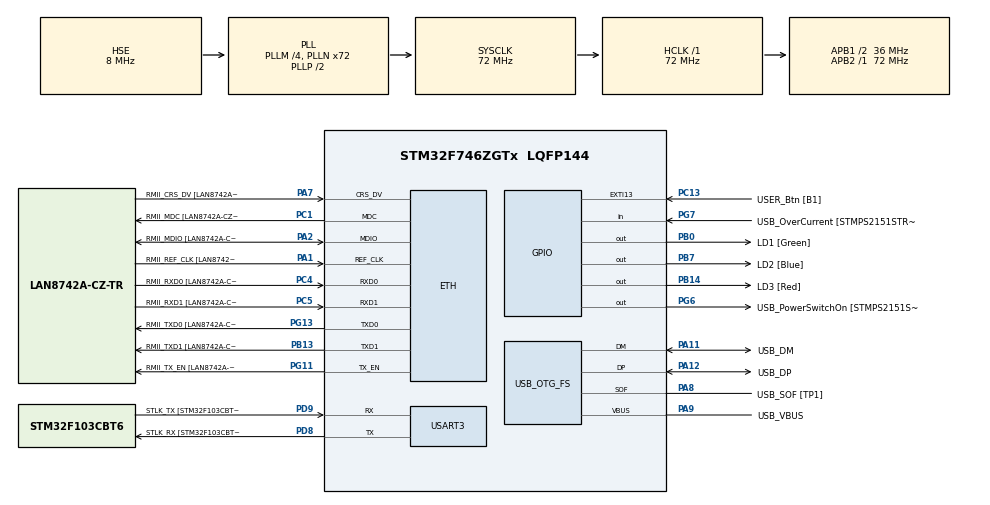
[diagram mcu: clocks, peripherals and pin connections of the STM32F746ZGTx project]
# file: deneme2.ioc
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ETH.MediaInterface=ETH_MEDIA_INTERFACE_RMII
ETH.PHY_Name=LAN8742A_PHY_ADDRESS
ETH.PHY_Value=0
ETH.PhyAddress=0
Mcu.Family=STM32F7
Mcu.Name=STM32F746ZGTx
Mcu.Package=LQFP144
NVIC.PriorityGroup=NVIC_PRIORITYGROUP_4
PA1.GPIO_Label=RMII_REF_CLK [LAN8742A-CZ-TR_REFCLK0]
PA1.Mode=RMII
PA1.Signal=ETH_REF_CLK
PA10.GPIO_Label=USB_ID
PA10.Signal=USB_OTG_FS_ID
PA11.GPIO_Label=USB_DM
PA11.Mode=Device_Only
PA11.Signal=USB_OTG_FS_DM
PA12.GPIO_Label=USB_DP
PA12.Mode=Device_Only
PA12.Signal=USB_OTG_FS_DP
PA13.GPIO_Label=TMS
PA13.Mode=Serial_Wire
PA13.Signal=SYS_JTMS-SWDIO
PA14.GPIO_Label=TCK
PA14.Mode=Serial_Wire
PA14.Signal=SYS_JTCK-SWCLK
PA2.GPIO_Label=RMII_MDIO [LAN8742A-CZ-TR_MDIO]
PA2.Mode=RMII
PA2.Signal=ETH_MDIO
PA7.GPIO_Label=RMII_CRS_DV [LAN8742A-CZ-TR_CRS_DV]
PA7.Mode=RMII
PA7.Signal=ETH_CRS_DV
PA8.GPIO_Label=USB_SOF [TP1]
PA8.Mode=Activate_SOF_FS
PA8.Signal=USB_OTG_FS_SOF
PA9.GPIO_Label=USB_VBUS
PA9.Mode=Activate_VBUS
PA9.Signal=USB_OTG_FS_VBUS
PB0.GPIO_Label=LD1 [Green]
PB0.Signal=GPIO_Output
PB13.GPIO_Label=RMII_TXD1 [LAN8742A-CZ-TR_TXD1]
PB13.Mode=RMII
PB13.Signal=ETH_TXD1
PB14.GPIO_Label=LD3 [Red]
PB14.Signal=GPIO_Output
PB3.GPIO_Label=SW0
PB3.Signal=SYS_JTDO-SWO
PB7.GPIO_Label=LD2 [Blue]
PB7.Signal=GPIO_Output
PC1.GPIO_Label=RMII_MDC [LAN8742A-CZ-TR_MDC]
PC1.Mode=RMII
PC1.Signal=ETH_MDC
PC13.GPIO_Label=USER_Btn [B1]
PC13.Signal=GPXTI13
PC14/OSC32_IN.Mode=LSE-External-Oscillator
PC14/OSC32_IN.Signal=RCC_OSC32_IN
PC15/OSC32_OUT.Mode=LSE-External-Oscillator
PC15/OSC32_OUT.Signal=RCC_OSC32_OUT
PC4.GPIO_Label=RMII_RXD0 [LAN8742A-CZ-TR_RXD0]
PC4.Mode=RMII
PC4.Signal=ETH_RXD0
PC5.GPIO_Label=RMII_RXD1 [LAN8742A-CZ-TR_RXD1]
PC5.Mode=RMII
PC5.Signal=ETH_RXD1
PD8.GPIO_Label=STLK_RX [STM32F103CBT6_PA3]
PD8.Mode=Asynchronous
PD8.Signal=USART3_TX
PD9.GPIO_Label=STLK_TX [STM32F103CBT6_PA2]
PD9.Mode=Asynchronous
PD9.Signal=USART3_RX
PG11.GPIO_Label=RMII_TX_EN [LAN8742A-CZ-TR_TXEN]
PG11.Mode=RMII
PG11.Signal=ETH_TX_EN
PG13.GPIO_Label=RMII_TXD0 [LAN8742A-CZ-TR_TXD0]
PG13.Mode=RMII
PG13.Signal=ETH_TXD0
PG6.GPIO_Label=USB_PowerSwitchOn [STMPS2151STR_EN]
PG6.Signal=GPIO_Output
PG7.GPIO_Label=USB_OverCurrent [STMPS2151STR_FAULT]
PG7.Signal=GPIO_Input
PH0/OSC_IN.GPIO_Label=MCO [STM32F103CBT6_PA8]
PH0/OSC_IN.Mode=HSE-External-Clock-Source
PH0/OSC_IN.Signal=RCC_OSC_IN
PH1/OSC_OUT.Mode=HSE-External-Clock-Source
PH1/OSC_OUT.Signal=RCC_OSC_OUT
ProjectManager.HeapSize=0x200
ProjectManager.StackSize=0x400
ProjectManager.TargetToolchain=STM32CubeIDE
RCC.48MHZClocksFreq_Value=24000000
RCC.AHBFreq_Value=72000000
RCC.APB1CLKDivider=RCC_HCLK_DIV2
RCC.APB1Freq_Value=36000000
RCC.APB1TimFreq_Value=72000000
RCC.APB2Freq_Value=72000000
RCC.APB2TimFreq_Value=72000000
RCC.CortexFreq_Value=72000000
RCC.HCLKFreq_Value=72000000
RCC.HSE_VALUE=8000000
RCC.HSI_VALUE=16000000
RCC.PLLM=4
RCC.PLLMUL=RCC_PLL_MUL9
RCC.PLLN=72
RCC.PLLQ=3
RCC.PRESCALERUSB=RCC_USBCLKSOURCE_PLL_DIV1_5
RCC.SYSCLKFreq_VALUE=72000000
RCC.SYSCLKSource=RCC_SYSCLKSOURCE_PLLCLK
RCC.SYSCLKSourceVirtual=RCC_SYSCLKSOURCE_PLLCLK
RCC.USBFreq_Value=48000000
RCC.VCOOutputFreq_Value=144000000
USART3.VirtualMode-Asynchronous=VM_ASYNC
USB_OTG_FS.VirtualMode=Device_Only
board=NUCLEO-F746ZG

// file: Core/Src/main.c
/* USER CODE BEGIN Header */
/**
  ******************************************************************************
  * @file           : main.c
  * @brief          : Main program body
  ******************************************************************************
  * @attention
  *
  * <h2><center>&copy; Copyright (c) 2022 STMicroelectronics.
  * All rights reserved.</center></h2>
  *
  * This software component is licensed by ST under BSD 3-Clause license,
  * the "License"; You may not use this file except in compliance with the
  * License. You may obtain a copy of the License at:
  *                        opensource.org/licenses/BSD-3-Clause
  *
  ******************************************************************************
  */
/* USER CODE END Header */
#include "main.h"

/* USER CODE BEGIN Includes */
#include "DenemeQueue.h"
#include "stdio.h"
/* USER CODE END Includes */

ETH_HandleTypeDef heth;

UART_HandleTypeDef huart3;

PCD_HandleTypeDef hpcd_USB_OTG_FS;

void SystemClock_Config(void);
static void MX_GPIO_Init(void);
static void MX_ETH_Init(void);
static void MX_USART3_UART_Init(void);
static void MX_USB_OTG_FS_PCD_Init(void);
/* USER CODE BEGIN PFP */
typedef int(* oper_t)(int,int);
int add(int a , int b);
int sub(int a , int b);
int mul(int a , int b);
/* USER CODE END PFP */

int main(void)
{
  /* USER CODE BEGIN 1 */
	oper_t oper[] = {add,sub,mul};
	int cmd,a,b,res;
  /* USER CODE END 1 */

  /* MCU Configuration--------------------------------------------------------*/

  /* Reset of all peripherals, Initializes the Flash interface and the Systick. */
  HAL_Init();

  /* Configure the system clock */
  SystemClock_Config();

  /* Initialize all configured peripherals */
  MX_GPIO_Init();
//  MX_ETH_Init();
  MX_USART3_UART_Init();
  MX_USB_OTG_FS_PCD_Init();
  /* USER CODE BEGIN 2 */
//	int j,k, h, t;
	/* test normal queue */
//	Queue * myQ;
//	myQ = Queue_Create();
//
//	k = 1000;
//
//	for (j=0;j<QUEUE_SIZE-1;j++) {
//		h = myQ->head;
//		myQ->insert(myQ,k);
//		printf("inserting %d at position %d, size =%d\n",k--,h, myQ->getSize(myQ));
//	};
//
//	printf("Inserted %d elements\n",myQ->getSize(myQ));
//
//	for (j=0;j<QUEUE_SIZE-1;j++) {
//		t = myQ->tail;
//		k = myQ->remove(myQ);
//		printf("REMOVING %d at position %d, size =%d\n",k,t, myQ->getSize(myQ));
//	};
//
//	printf("Last item removed = %d\n", k);
//	printf("Current queue size %d\n", myQ->getSize(myQ));
//	puts("Queue test program");

  a=10;
  b=15;
  cmd=2;

  res = operation(oper[cmd],a,b);

  printf("Result = %d\n",res);
  /* USER CODE END 2 */

  /* Infinite loop */
  while (1)
  {

  }
}

void SystemClock_Config(void)
{
  RCC_OscInitTypeDef RCC_OscInitStruct = {0};
  RCC_ClkInitTypeDef RCC_ClkInitStruct = {0};
  RCC_PeriphCLKInitTypeDef PeriphClkInitStruct = {0};

  /** Configure LSE Drive Capability
  */
  HAL_PWR_EnableBkUpAccess();
  /** Configure the main internal regulator output voltage
  */
  __HAL_RCC_PWR_CLK_ENABLE();
  __HAL_PWR_VOLTAGESCALING_CONFIG(PWR_REGULATOR_VOLTAGE_SCALE3);
  /** Initializes the RCC Oscillators according to the specified parameters
  * in the RCC_OscInitTypeDef structure.
  */
  RCC_OscInitStruct.OscillatorType = RCC_OSCILLATORTYPE_HSE;
  RCC_OscInitStruct.HSEState = RCC_HSE_BYPASS;
  RCC_OscInitStruct.PLL.PLLState = RCC_PLL_ON;
  RCC_OscInitStruct.PLL.PLLSource = RCC_PLLSOURCE_HSE;
  RCC_OscInitStruct.PLL.PLLM = 4;
  RCC_OscInitStruct.PLL.PLLN = 72;
  RCC_OscInitStruct.PLL.PLLP = RCC_PLLP_DIV2;
  RCC_OscInitStruct.PLL.PLLQ = 3;
  if (HAL_RCC_OscConfig(&RCC_OscInitStruct) != HAL_OK)
  {
    Error_Handler();
  }
  /** Initializes the CPU, AHB and APB buses clocks
  */
  RCC_ClkInitStruct.ClockType = RCC_CLOCKTYPE_HCLK|RCC_CLOCKTYPE_SYSCLK
                              |RCC_CLOCKTYPE_PCLK1|RCC_CLOCKTYPE_PCLK2;
  RCC_ClkInitStruct.SYSCLKSource = RCC_SYSCLKSOURCE_PLLCLK;
  RCC_ClkInitStruct.AHBCLKDivider = RCC_SYSCLK_DIV1;
  RCC_ClkInitStruct.APB1CLKDivider = RCC_HCLK_DIV2;
  RCC_ClkInitStruct.APB2CLKDivider = RCC_HCLK_DIV1;

  if (HAL_RCC_ClockConfig(&RCC_ClkInitStruct, FLASH_LATENCY_2) != HAL_OK)
  {
    Error_Handler();
  }
  PeriphClkInitStruct.PeriphClockSelection = RCC_PERIPHCLK_USART3|RCC_PERIPHCLK_CLK48;
  PeriphClkInitStruct.Usart3ClockSelection = RCC_USART3CLKSOURCE_PCLK1;
  PeriphClkInitStruct.Clk48ClockSelection = RCC_CLK48SOURCE_PLL;
  if (HAL_RCCEx_PeriphCLKConfig(&PeriphClkInitStruct) != HAL_OK)
  {
    Error_Handler();
  }
}

static void MX_ETH_Init(void)
{

   static uint8_t MACAddr[6];

  heth.Instance = ETH;
  heth.Init.AutoNegotiation = ETH_AUTONEGOTIATION_ENABLE;
  heth.Init.Speed = ETH_SPEED_100M;
  heth.Init.DuplexMode = ETH_MODE_FULLDUPLEX;
  heth.Init.PhyAddress = LAN8742A_PHY_ADDRESS;
  MACAddr[0] = 0x00;
  MACAddr[1] = 0x80;
  MACAddr[2] = 0xE1;
  MACAddr[3] = 0x00;
  MACAddr[4] = 0x00;
  MACAddr[5] = 0x00;
  heth.Init.MACAddr = &MACAddr[0];
  heth.Init.RxMode = ETH_RXPOLLING_MODE;
  heth.Init.ChecksumMode = ETH_CHECKSUM_BY_HARDWARE;
  heth.Init.MediaInterface = ETH_MEDIA_INTERFACE_RMII;

  if (HAL_ETH_Init(&heth) != HAL_OK)
  {
    Error_Handler();
  }

}

static void MX_USART3_UART_Init(void)
{

  huart3.Instance = USART3;
  huart3.Init.BaudRate = 115200;
  huart3.Init.WordLength = UART_WORDLENGTH_8B;
  huart3.Init.StopBits = UART_STOPBITS_1;
  huart3.Init.Parity = UART_PARITY_NONE;
  huart3.Init.Mode = UART_MODE_TX_RX;
  huart3.Init.HwFlowCtl = UART_HWCONTROL_NONE;
  huart3.Init.OverSampling = UART_OVERSAMPLING_16;
  huart3.Init.OneBitSampling = UART_ONE_BIT_SAMPLE_DISABLE;
  huart3.AdvancedInit.AdvFeatureInit = UART_ADVFEATURE_NO_INIT;
  if (HAL_UART_Init(&huart3) != HAL_OK)
  {
    Error_Handler();
  }

}

static void MX_USB_OTG_FS_PCD_Init(void)
{

  hpcd_USB_OTG_FS.Instance = USB_OTG_FS;
  hpcd_USB_OTG_FS.Init.dev_endpoints = 6;
  hpcd_USB_OTG_FS.Init.speed = PCD_SPEED_FULL;
  hpcd_USB_OTG_FS.Init.dma_enable = DISABLE;
  hpcd_USB_OTG_FS.Init.phy_itface = PCD_PHY_EMBEDDED;
  hpcd_USB_OTG_FS.Init.Sof_enable = ENABLE;
  hpcd_USB_OTG_FS.Init.low_power_enable = DISABLE;
  hpcd_USB_OTG_FS.Init.lpm_enable = DISABLE;
  hpcd_USB_OTG_FS.Init.vbus_sensing_enable = ENABLE;
  hpcd_USB_OTG_FS.Init.use_dedicated_ep1 = DISABLE;
  if (HAL_PCD_Init(&hpcd_USB_OTG_FS) != HAL_OK)
  {
    Error_Handler();
  }

}

static void MX_GPIO_Init(void)
{
  GPIO_InitTypeDef GPIO_InitStruct = {0};

  /* GPIO Ports Clock Enable */
  __HAL_RCC_GPIOC_CLK_ENABLE();
  __HAL_RCC_GPIOH_CLK_ENABLE();
  __HAL_RCC_GPIOA_CLK_ENABLE();
  __HAL_RCC_GPIOB_CLK_ENABLE();
  __HAL_RCC_GPIOD_CLK_ENABLE();
  __HAL_RCC_GPIOG_CLK_ENABLE();

  /*Configure GPIO pin Output Level */
  HAL_GPIO_WritePin(GPIOB, LD1_Pin|LD3_Pin|LD2_Pin, GPIO_PIN_RESET);

  /*Configure GPIO pin Output Level */
  HAL_GPIO_WritePin(USB_PowerSwitchOn_GPIO_Port, USB_PowerSwitchOn_Pin, GPIO_PIN_RESET);

  /*Configure GPIO pin : USER_Btn_Pin */
  GPIO_InitStruct.Pin = USER_Btn_Pin;
  GPIO_InitStruct.Mode = GPIO_MODE_IT_RISING;
  GPIO_InitStruct.Pull = GPIO_NOPULL;
  HAL_GPIO_Init(USER_Btn_GPIO_Port, &GPIO_InitStruct);

  /*Configure GPIO pins : LD1_Pin LD3_Pin LD2_Pin */
  GPIO_InitStruct.Pin = LD1_Pin|LD3_Pin|LD2_Pin;
  GPIO_InitStruct.Mode = GPIO_MODE_OUTPUT_PP;
  GPIO_InitStruct.Pull = GPIO_NOPULL;
  GPIO_InitStruct.Speed = GPIO_SPEED_FREQ_LOW;
  HAL_GPIO_Init(GPIOB, &GPIO_InitStruct);

  /*Configure GPIO pin : USB_PowerSwitchOn_Pin */
  GPIO_InitStruct.Pin = USB_PowerSwitchOn_Pin;
  GPIO_InitStruct.Mode = GPIO_MODE_OUTPUT_PP;
  GPIO_InitStruct.Pull = GPIO_NOPULL;
  GPIO_InitStruct.Speed = GPIO_SPEED_FREQ_LOW;
  HAL_GPIO_Init(USB_PowerSwitchOn_GPIO_Port, &GPIO_InitStruct);

  /*Configure GPIO pin : USB_OverCurrent_Pin */
  GPIO_InitStruct.Pin = USB_OverCurrent_Pin;
  GPIO_InitStruct.Mode = GPIO_MODE_INPUT;
  GPIO_InitStruct.Pull = GPIO_NOPULL;
  HAL_GPIO_Init(USB_OverCurrent_GPIO_Port, &GPIO_InitStruct);

}

/* USER CODE BEGIN 4 */

int operation(oper_t p,int a, int b){
	return (*p)(a,b);
}

int add(int a , int b){
	return a+b;
}

int sub(int a , int b){
	return a-b;
}

int mul(int a , int b){
	return a*b;
}

/* USER CODE END 4 */

void Error_Handler(void)
{
  __disable_irq();
  while (1)
  {
  }
}

/************************ (C) COPYRIGHT STMicroelectronics *****END OF FILE****/
